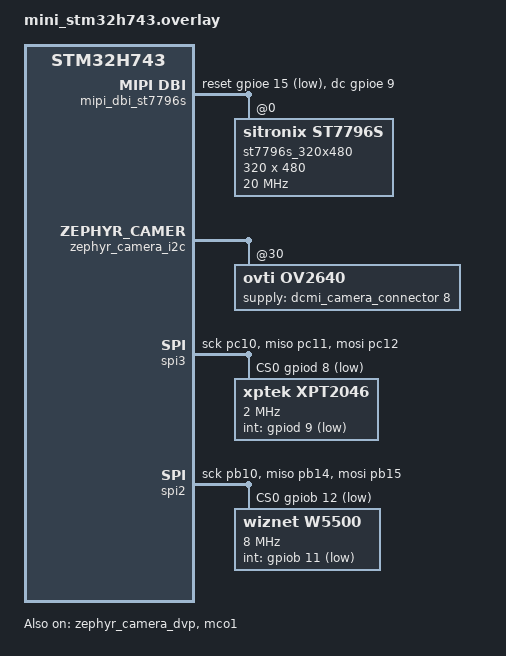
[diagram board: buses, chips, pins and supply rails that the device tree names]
// ---------------------------------------------------------------------------------------------------------------------------------------------
// west build -p always -b mini_stm32h743 -- -DDTC_OVERLAY_FILE=boards/mini_stm32h743.overlay -DEXTRA_CONF_FILE=boards/mini_stm32h743.conf
// ---------------------------------------------------------------------------------------------------------------------------------------------
/* Узел chosen - узел для указания Zephyr, какие устройства использовать в этом приложении. */
/ {
	chosen {
		/*
		Свойство zephyr,camera -  Ключ (property name) в формате vendor,property
			- vendor = zephyr (производитель/namespace)
			- property = camera (сущность, которую описывает свойство)
		Присваивание значения - phandle (указатель на узел)
			- & - оператор взятия ссылки на узел
			- zephyr_camera_dvp - label (метка) другого узла в DTS */
		zephyr,camera = &zephyr_camera_dvp;
	};
};



/*
Ссылка на существующий узел I2C:
	- & - оператор ссылки на узел
	- zephyr_camera_i2c - label узла I2C шины (псевдоним (alias) для узла,позволяет ссылаться на узел не по полному пути) */
&zephyr_camera_i2c {
	// Включение I2C (Булевое свойство (со строковым значением) для управления состоянием устройства).
	status = "okay";
	// Частота работы I2C шины в Герцах. (I2C_BITRATE_FAST = 400000 (400 kHz (400,000 Hz)))
	clock-frequency = <I2C_BITRATE_FAST>;

	/*
	Объявление узла OV2640 камеры
		- ov2640: - Label (метка) для этого узла
		- ov2640@30 - Имя узла в формате name@unit-address
			+ ov2640 - имя (произвольное, описательное)
			+ @ - разделитель
			+ 30 - unit address (адрес устройства на шине), взят из datasheet для OV2640.*/
	ov2640: ov2640@30 {
		//  Связать устройство с драйвером камеры "ovti,ov2640".
		compatible = "ovti,ov2640";
		// Адрес устройства на шине I2C, взят из datasheet для OV2640.
		reg = <0x30>;
		// Включение камеры OV2640 (Булевое свойство (со строковым значением) для управления состоянием устройства).
		status = "okay";
		// GPIO пин для управления питанием камеры (8 - номер пина в connector)
		supply-gpios = <&dcmi_camera_connector 8 GPIO_ACTIVE_HIGH>;
		// Дополнительный контроль частоты, специфичное для OV2640 свойство.
		clock-rate-control = <0x80>;

		/*
		Узел port - Video Graph binding.
			- Специальная структура для описания видео-потоков, описывает соединения между видео-компонентами.*/
		port {
			/*
			Узел endpoint - точка подключения
				- ov2640_ep_out: - Label для endpoint (ep = endpoint, out = выходной (от камеры наружу))
				- endpoint - стандартное имя узла для Video Graph*/
			ov2640_ep_out: endpoint {
				// Связь с другим endpoint, указывает на label endpoint на другой стороне соединения.
				remote-endpoint-label = "zephyr_camera_dvp_in";
			};
		};
	};
};



/*
DCMI (Digital Camera Module Interface (аппаратный модуль для захвата видео, принимает параллельный поток от камеры))
DVP (Digital Video Port (параллельный интерфейс камеры))
	- &zephyr_camera_dvp  - ссылка на DCMI контроллер */
&zephyr_camera_dvp {
	// Включение DCMI контроллера (Булевое свойство (со строковым значением) для управления состоянием устройства).
	status = "okay";

	/*
	Узел port - Video Graph binding.
		- Специальная структура для описания видео-потоков, описывает соединения между видео-компонентами. */
	port {
		/*
		Узел endpoint - точка подключения
			- zephyr_camera_dvp_in: - Label для endpoint
			- endpoint - стандартное имя узла для Video Graph*/
		zephyr_camera_dvp_in: endpoint {
			// Указывает на камеру: Данные от ov2640_ep_out поступают сюда
			remote-endpoint-label = "ov2640_ep_out";
			// Ширина шины данных, количество линий данных между камерой и DCMI (8-bit параллельная шина)
			bus-width = <8>;
			// Камера подает импульс в начале каждой горизонтальной линии пикселей (Полярность [<0> = low, <1> = high])
			hsync-active = <0>;
			// Камера подает импульс в начале каждого кадра (Полярность [<0> = low, <1> = high])
			vsync-active = <0>;
			// На каком фронте Pixel Clock захватывать данные ([<0> = falling edge, <1> = rising edge])
			pclk-sample = <1>;
		};
	};
};



/*
СИСТЕМА ТАКТИРОВАНИЯ (RCC - Reset and Clock Control) (AN5020 - Rev 3)
	- Тактовые частоты AHB должны соответствовать минимальному соотношению (AHB / DCMI_PIXCLK) равному 2.5.
	- Частота PCLK OV2640 составляет около 72 МГц для разрешения QQVGA (160x120) с MCO1_SEL_HSI48 и MCO_PRE_DIV_4.*/
&rcc {
	// Указывает источник тактового сигнала для системы (<&pll> - phandle на узел PLL)
	clocks = <&pll>;
	// Целевая частота, желаемая частота системного clock в Герцах
	clock-frequency = <DT_FREQ_M(240)>;
	// clock-frequency = <DT_FREQ_M(120)>;
	// D1 Domain Core Prescaler (<1> = делитель на 1 (без деления))
	d1cpre = <1>;
	// AHB Prescaler - делитель для частоты AHB шины (<1> = делитель на 1 (без деления))
	hpre = <1>;
	// D1 Domain APB3 Prescaler - делитель для APB3 шины (<2> = делить на 2)
	d1ppre = <2>;
	// D2 Domain APB1 Prescaler - делитель для APB1 шины (<2> = делить на 2)
	d2ppre1 = <2>;
	// D2 Domain APB2 Prescaler - делитель для APB2 шины (<2> = делить на 2)
	d2ppre2 = <2>;
	// D3 Domain APB4 Prescaler - делитель для APB4 шины (<2> = делить на 2)
	d3ppre = <2>;
};



/*
MCO (Master Clock Output) - выход тактового сигнала на GPIO пин */
&mco1 {
	// Включение устройства (теперь MCO1 будет генерировать clock на PA8).
	status = "okay";
	/* Указывает источник тактового сигнала
		- <&rcc ...> - Phandle на RCC с дополнительными аргументами
		- STM32_SRC_HSI48 - Идентификатор источника clock (Встроенный RC oscillator)
		- MCO1_SEL(MCO1_SEL_HSI48) - Selector для MCO1 multiplexer*/
	clocks = <&rcc STM32_SRC_HSI48 MCO1_SEL(MCO1_SEL_HSI48)>;
	//  Коэффициент деления выходной частоты MCO1 (MCO_PRE_DIV_4 - делить на 4)
	prescaler = <MCO1_PRE(MCO_PRE_DIV_6)>;
	// prescaler = <MCO1_PRE(MCO_PRE_DIV_4)>;
	// Ссылка на конфигурацию пина для MCO1
	pinctrl-0 = <&rcc_mco_1_pa8>;
	//  Список имен для состояний pinctrl
	pinctrl-names = "default";
};


/*  DMA (Direct Memory Access) КОНФИГУРАЦИЯ*/
&dma1 {
	// Включение DMA1
	status = "okay";
};



/* DMA Multiplexer - маршрутизирует запросы от периферии к DMA streams*/
&dmamux1 {
	status = "okay";
};



/* ----------------------|  Display  |---------------------  */
/*
 * Overlay для подключения дисплея ST7796S (320x480) к плате mini_stm32h743.
 *
 * СХЕМА ПОДКЛЮЧЕНИЯ (дисплей → STM32H743):
 * ==========================================
 *  VCC   → 3.3V
 *  GND   → GND
 *  CS    → PE11  (SPI4_NSS, GPIO_ACTIVE_LOW)
 *  RESET → PE15  (GPIO_ACTIVE_LOW)
 *  DC/RS → PE9  (GPIO_ACTIVE_HIGH)
 *  SDI   → PE14  (SPI4_MOSI)
 *  SCK   → PE12  (SPI4_SCK)
 *  LED   → 3.3V  (или на PWM пин для управления яркостью)
 *  SDO   → не подключать (MISO не нужен для записи)
 *
 * ПРИМЕЧАНИЕ по пинам:
 *   SPI4 (SCK=PE12, MOSI=PE14) и CS=PE11 уже сконфигурированы в базовом DTS
 *   для встроенного дисплея ST7735R — мы переиспользуем те же физические пины.
 *   DC=PE13 — также переиспользуем.
 *   RESET=PE15 — свободный GPIO, не занят в базовой конфигурации платы.
 *
 * ШАГ 1: Отключаем встроенный дисплей ST7735R.
 * ШАГ 2: Переключаем chosen,zephyr,display на новый ST7796S.
 * ШАГ 3: Объявляем новый узел mipi_dbi + ST7796S.
 *   (spi4 и его pinctrl не трогаем — они уже настроены в базовом DTS.)
 */

#include <zephyr/dt-bindings/mipi_dbi/mipi_dbi.h>

/* ── ШАГ 1: Отключить встроенный дисплей ST7735R ─────────────────────── */
&st7735r_160x80 {
	status = "disabled";
};

/ {
	/* ── ШАГ 2: Обновить chosen ────────────────────────────────────────── */
	chosen {
		zephyr,display = &st7796s_320x480;
	};

	/* ── ШАГ 3: Транспортный узел MIPI DBI → SPI4 ──────────────────────
	 *
	 * Этот узел играет ту же роль, что mipi_dbi_st7735r_160x80 в базовом
	 * DTS: он связывает дисплейный драйвер с SPI-контроллером и GPIO.
	 *
	 * Мы НЕ трогаем &spi4 — он уже включён в базовом DTS с правильными
	 * pinctrl (spi4_sck_pe12, spi4_mosi_pe14) и cs-gpios (PE11).
	 */
	mipi_dbi_st7796s: mipi_dbi_st7796s {
		compatible = "zephyr,mipi-dbi-spi";

		/* SPI4 уже настроен в базовом DTS:
		 *   pinctrl-0 = <&spi4_sck_pe12 &spi4_mosi_pe14>
		 *   cs-gpios  = <&gpioe 11 GPIO_ACTIVE_LOW>        */
		spi-dev = <&spi4>;

		/* DC/RS pin — переиспользуем PE13 (был у ST7735R) */
		// dc-gpios = <&gpioe 13 GPIO_ACTIVE_HIGH>;
		dc-gpios = <&gpioe 9 GPIO_ACTIVE_HIGH>;

		/* RESET pin — PE15 (свободный GPIO на плате).
		 * Если хочешь использовать другой пин — замени здесь. */
		reset-gpios = <&gpioe 15 GPIO_ACTIVE_LOW>;

		#address-cells = <1>;
		#size-cells = <0>;

		/* ── Узел дисплея ST7796S ───────────────────────────────────── */
		st7796s_320x480: st7796s@0 {
			compatible = "sitronix,st7796s";
			status = "okay";
			reg = <0>;

			/* SPI частота: ST7796S поддерживает до 80 МГц,
			 * но начать лучше с 20 МГц для надёжности.       */
			mipi-max-frequency = <20000000>;

			/* 4-проводный SPI: CLK + MOSI + CS + отдельный DC */
			mipi-mode = "MIPI_DBI_MODE_SPI_4WIRE";

			width  = <320>;
			height = <480>;

			/* MADCTL = 0x68 (104 dec)
			 * D7=0 D6=1 D5=1 D4=0 D3=1 D2=0 D1=0 D0=0
			 *       MX   MV       BGR
			 * MX=1 — зеркало по X
			 * MV=1 — поменять X и Y (поворот 90°)
			 * BGR=1 — порядок цветов BGR
			 * Итого: портретный режим 320×480, BGR.
			 * При необходимости скорректируй под физическую
			 * ориентацию дисплея.
			 * Регистр в контроллере дисплея через который задаются параметры:
			 * D7 - зеркалит по вертикали (Y).
			 * D6 - зеркалит по горизонтали (X).
			 * D5 - меняет X и Y местами (поворот на 90°).
			 * D4 - Направление обновления (сверху вниз или снизу вверх).
			 * D3 - Порядок цветов в памяти (RGB-BGR).
			 * D2 - Направление обновления по горизонтали.
			 * D1 - Не используется (Reserved).
			 * D0 - Не используется (Reserved).
			 * D7 D6 D5 D4 D3 D2 D1 D0
			 * 0  1  1  0  1  0  0  0  ==  104 (перевод из двоичной в десятичную)
			 * 1  1  0  0  1  0  0  0  ==  200 (перевод из двоичной в десятичную)*/
			// madctl = <104>;
			madctl = <72>;

			/* Gamma correction (позитивная кривая) */
			pgc = [D0 06 0C 0E 09 0B 38 34 48 05 13 14 10 14];

			/* Gamma correction (негативная кривая) */
			ngc = [D0 01 06 0C 0C 0F 31 3F 47 0A 16 16 17 16];
		};
	};
};



/* ----------------------|  Touch (XPT2046, отдельная шина SPI2)  |---------------------  */
/*
 * Тач-панель посажена на ВТОРОЙ независимый аппаратный SPI-контроллер (spi2),
 * а не на spi4 вместе с дисплеем — по аналогии с разводкой на ESP32-S3
 * (там spi2 = дисплей, spi3 = тач). Здесь наоборот исторически: spi4 уже
 * занят под дисплей в базовом DTS платы, поэтому под тач берём spi2.
 *
 * spi2 в базовом mini_stm32h743.dts вообще не используется — весь диапазон
 * PB12-PB15 полностью свободен и не пересекается ни с SPI1 (PB3/PB4 - NOR
 * flash), ни с QuadSPI (PB2/PB6), ни с будущей DVP-камерой (PA4/PA6/PA7/
 * PA8/PB7/PB8/PB9/PC6/PC7/PD3/PE0/PE1/PE4/PE5/PE6).
 *
 * Единственное устройство на шине -> гонка между несколькими cs-gpios
 * физически невозможна, конфликтовать попросту не с чем.
 *
 * СХЕМА ПОДКЛЮЧЕНИЯ (XPT2046 (touch) → STM32H743):
 * ==========================================
 * T_CLK     →   C10
 * T_CS      →   D8
 * T_DIN     →   C12
 * T_DO      →   C11
 * T_IRQ     →   D9
 */
&sdmmc1 {
	status = "disabled";
};


&spi3 {
	#address-cells = <1>;
	#size-cells = <0>;

	pinctrl-0 = <&spi3_sck_pc10 &spi3_miso_pc11 &spi3_mosi_pc12>;
	pinctrl-names = "default";
	status = "okay";

	/* CS программный (через GPIO), не аппаратный NSS — как и у дисплея
	 * на spi4. Единственное устройство на шине -> один элемент массива. */
	cs-gpios = <&gpiod 8 GPIO_ACTIVE_LOW>;   /* T_CS */

	xpt2046: xpt2046@0 {
		compatible = "xptek,xpt2046";
		/* Единственное устройство на шине spi2 -> индекс 0 в cs-gpios */
		reg = <0>;

		/* XPT2046 — медленный ADC-контроллер, выше 2 МГц гнать
		 * SPI обычно не стоит */
		spi-max-frequency = <2000000>;

		/* T_IRQ (PENIRQ) — открытый сток, активен low.
		 * PB1 свободен, рядом с остальными пинами тача на порту B. */
		int-gpios = <&gpiod 9 (GPIO_ACTIVE_LOW | GPIO_PULL_UP)>;

		/* Разрешение экрана — как задано в madctl дисплея ST7796S
		 * (портретная ориентация 320x480) */
		touchscreen-size-x = <320>;
		touchscreen-size-y = <480>;

		/* "Сырые" граничные значения АЦП touch-панели.
		 * Стартовые значения общего вида (12-битный АЦП),
		 * реальные min/max для конкретной панели уточняются
		 * калибровкой после первого запуска draw_touch_events. */
		min-x = <0>;
		min-y = <0>;
		max-x = <4095>;
		max-y = <4095>;
	};
};

/ {
	chosen {
		/* draw_touch_events ищет touch-устройство именно через
		 * zephyr,touch (см. README сэмпла) — без изменений */
		zephyr,touch = &xpt2046;
	};
};


 /*
 * WIZnet W5500 connected over SPI2 to the WeAct MiniSTM32H743 Core Board.
 *
 * SPI1 (PB3/PB4/PD7, cs=PD6), SPI4 (PE12/PE14, cs=PE11) and QUADSPI
 * (PB2/PB6/PD11-13/PE2) are already used on this board by the on-board
 * SPI-NOR flash, the ST7735 LCD and the QSPI-NOR flash respectively (see
 * mini_stm32h743.dts), so they cannot be reused for the W5500.
 *
 * SPI5 does not exist on the VIT6 (LQFP100) package used on this board
 * (the board only brings out GPIOA..GPIOE), and the only pin options for
 * SPI6 (PA5/PA6/PA7/PB3/PB4/PB5) physically coincide with the SPI1 pins
 * already used by the on-board flash, so SPI6 is not usable either.
 *
 * SPI2 is free and maps to the unclaimed PB10..PB15 block, so the whole
 * module (bus + CS + INT + RESET) fits on six consecutive pins:
/*
 * СХЕМА ПОДКЛЮЧЕНИЯ (W5500 → STM32H743):
 * ==========================================
 *   SCK     → PB10
 *   MISO    → PB14
 *   MOSI    → PB15
 *   CS      → PB12  (soft-NSS, plain GPIO via cs-gpios)
 *   INT     → PB11  (active low)
 *   ----  RST     PB13  (active low) - не используется
 */
// ---------------------------------------------------------------------------------------------------------------------------------------------
// west build -p always -b mini_stm32h743 -- -DDTC_OVERLAY_FILE=boards/mini_stm32h743.overlay -DEXTRA_CONF_FILE=boards/mini_stm32h743.conf
// ---------------------------------------------------------------------------------------------------------------------------------------------

&spi2 {
	pinctrl-0 = <&spi2_sck_pb10 &spi2_miso_pb14 &spi2_mosi_pb15>;
	pinctrl-names = "default";
	status = "okay";
	cs-gpios = <&gpiob 12 GPIO_ACTIVE_LOW>; /* PB12 -> W5500 CS */

	w5500: w5500@0 {
		compatible = "wiznet,w5500";
		label = "w5500";
		status = "okay";
		reg = <0x0>;
		spi-max-frequency = <8000000>;
		int-gpios = <&gpiob 11 GPIO_ACTIVE_LOW>;   /* PB11 -> W5500 INT */
		// reset-gpios = <&gpiob 13 GPIO_ACTIVE_LOW>; /* PB13 -> W5500 RST */

		// zephyr,random-mac-address;
		local-mac-address = [02 00 00 12 34 56];
		/* local-mac-address = [02 00 00 12 34 56]; */
	};
};

// net iface
// net dhcpv4 status
// net ping 192.168.1.1
